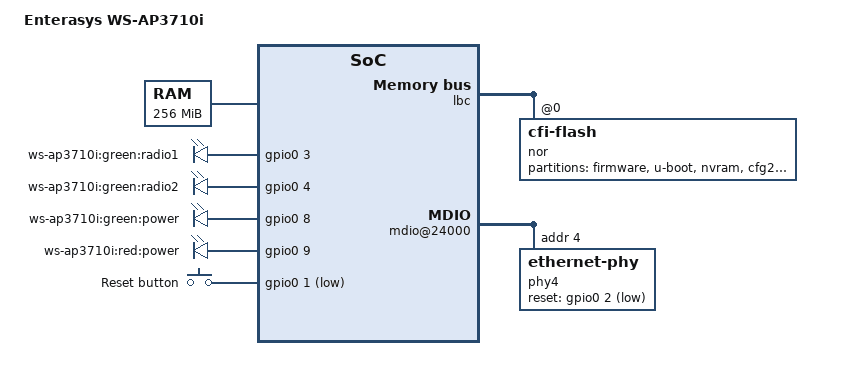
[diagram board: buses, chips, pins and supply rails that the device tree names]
// SPDX-License-Identifier: GPL-2.0-or-later or MIT

#include <dt-bindings/input/input.h>
#include <dt-bindings/gpio/gpio.h>

/include/ "fsl/p1020si-pre.dtsi"
/ {
	model = "Enterasys WS-AP3710i";
	compatible = "enterasys,ws-ap3710i";

	aliases {
		led-boot = &led_power_green;
		led-failsafe = &led_power_red;
		led-running = &led_power_green;
		led-upgrade = &led_power_red;
		label-mac-device = &enet0;
	};

	chosen {
		bootargs-override = "console=ttyS0,115200";
		stdout-path = &serial0;
	};

	memory {
		device_type = "memory";
	};

	leds {
		compatible = "gpio-leds";

		wifi1 {
			gpios = <&gpio0 3 GPIO_ACTIVE_HIGH>;
			label = "ws-ap3710i:green:radio1";
			linux,default-trigger = "phy0tpt";
		};

		wifi2 {
			gpios = <&gpio0 4 GPIO_ACTIVE_HIGH>;
			label = "ws-ap3710i:green:radio2";
			linux,default-trigger = "phy1tpt";
		};

		led_power_green: power_green {
			gpios = <&gpio0 8 GPIO_ACTIVE_HIGH>;
			label = "ws-ap3710i:green:power";
		};

		led_power_red: power_red {
			gpios = <&gpio0 9 GPIO_ACTIVE_HIGH>;
			label = "ws-ap3710i:red:power";
		};
	};

	keys {
		compatible = "gpio-keys";

		reset {
			label = "Reset button";
			gpios = <&gpio0 1 GPIO_ACTIVE_LOW>;
			linux,code = <KEY_RESTART>;
		};
	};

	lbc: localbus@ffe05000 {
		reg = <0 0xffe05000 0 0x1000>;
		ranges = <0x0 0x0 0x0 0xee000000 0x2000000>;

		nor@0 {
			compatible = "cfi-flash";
			reg = <0x0 0x0 0x2000000>;
			bank-width = <2>;
			device-width = <1>;

			partitions {
				compatible = "fixed-partitions";
				#address-cells = <1>;
				#size-cells = <1>;

				partition@0 {
					compatible = "denx,uimage";
					reg = <0x0 0x1d80000>;
					label = "firmware";
				};

				partition@1d80000 {
					reg = <0x1d80000 0x80000>;
					label = "u-boot";
					read-only;
				};

				partition@1e00000 {
					reg = <0x1e00000 0x100000>;
					label = "nvram";
					read-only;
				};

				partition@1f00000 {
					reg = <0x1f00000 0x20000>;
					label = "cfg2";
					read-only;
				};

				partition@1f20000 {
					reg = <0x1f20000 0x20000>;
					label = "cfg1";
					read-only;

					nvmem-layout {
						compatible = "u-boot,env-redundant-bool";
						env-size = <0x10000>;

						macaddr_cfg1_ethaddr: ethaddr {
						};
					};
				};
			};
		};
	};

	soc: soc@ffe00000 {
		ranges = <0x0 0x0 0xffe00000 0x100000>;

		gpio0: gpio-controller@fc00 {
		};

		mdio@24000 {
			phy4: ethernet-phy@4 {
				reg = <0x4>;
				reset-gpios = <&gpio0 2 GPIO_ACTIVE_LOW>;
			};
		};

		enet0: ethernet@b0000 {
			phy-connection-type = "rgmii-id";
			phy-handle = <&phy4>;

			nvmem-cells = <&macaddr_cfg1_ethaddr>;
			nvmem-cell-names = "mac-address";
		};

		enet1: ethernet@b1000 {
			status = "disabled";
		};

		enet2: ethernet@b2000 {
			status = "disabled";
		};

		usb@22000 {
			status = "disabled";
		};

		usb@23000 {
			status = "disabled";
		};
	};

	pci0: pcie@ffe09000 {
		ranges = <0x2000000 0x0 0xa0000000 0 0xa0000000 0x0 0x20000000>,
			  <0x1000000 0x0 0x00000000 0 0xffc10000 0x0 0x10000>;
		reg = <0 0xffe09000 0 0x1000>;

		/* Filled by U-Boot */
		bus-range = <0x00 0x01>;
		dma-ranges = <0x2000000 0x00 0xfff00000 0x00 0xffe00000 0x00 0x100000>,
			      <0x42000000 0x00 0x00 0x00 0x00 0x00 0x10000000>;

		pcie@0 {
			ranges = <0x2000000 0x0 0xa0000000
				  0x2000000 0x0 0xa0000000
				  0x0 0x20000000>,
				 <0x1000000 0x0 0x0
				  0x1000000 0x0 0x0
				  0x0 0x100000>;
		};
	};

	pci1: pcie@ffe0a000 {
		reg = <0 0xffe0a000 0 0x1000>;
		ranges = <0x2000000 0x0 0x80000000 0 0x80000000 0x0 0x20000000>,
			  <0x1000000 0x0 0x00000000 0 0xffc00000 0x0 0x10000>;

		/* Filled by U-Boot */
		bus-range = <0x00 0x01>;
		dma-ranges = <0x2000000 0x00 0xfff00000 0x00 0xffe00000 0x00 0x100000>,
			      <0x42000000 0x00 0x00 0x00 0x00 0x00 0x10000000>;

		pcie@0 {
			ranges = <0x2000000 0x0 0x80000000
				  0x2000000 0x0 0x80000000
				  0x0 0x20000000>,
				 <0x1000000 0x0 0x0
				  0x1000000 0x0 0x0
				  0x0 0x100000>;
		};
	};

};
/include/ "fsl/p1020si-post.dtsi"

/ {
	cpus {
		PowerPC,P1020@0 {
			bus-frequency = <399999996>;
			timebase-frequency = <50000000>;
			clock-frequency = <799999992>;
			d-cache-block-size = <0x20>;
			d-cache-size = <0x8000>;
			d-cache-sets = <0x80>;
			i-cache-block-size = <0x20>;
			i-cache-size = <0x8000>;
			i-cache-sets = <0x80>;
			cpu-release-addr = <0x0 0x0ffff280>;
			enable-method = "spin-table";
		};

		PowerPC,P1020@1 {
			bus-frequency = <399999996>;
			timebase-frequency = <50000000>;
			clock-frequency = <799999992>;
			d-cache-block-size = <0x20>;
			d-cache-size = <0x8000>;
			d-cache-sets = <0x80>;
			i-cache-block-size = <0x20>;
			i-cache-size = <0x8000>;
			i-cache-sets = <0x80>;
			cpu-release-addr = <0x0 0x0ffff2a0>;
			status = "disabled";
			enable-method = "spin-table";
		};
	};

	memory {
		reg = <0x0 0x0 0x0 0x10000000>;
	};

	reserved-memory {
		#address-cells = <2>;
		#size-cells = <2>;
		ranges;

		cpu1-bootpage@ff00000 {
			/* Reserve upper 1 MB for second-core-bootpage */
			reg = <0x0 0xff00000 0x0 0x100000>;
		};
	};

	soc@ffe00000 {
		bus-frequency = <399999996>;

		serial@4600 {
			clock-frequency = <399999996>;
		};

		serial@4500 {
			clock-frequency = <399999996>;
		};

		pic@40000 {
			clock-frequency = <399999996>;
		};
	};

	localbus@ffe05000 {
		bus-frequency = <24999999>;
	};
};

&enet0 {
	rx-stash-idx = <0x00>;
	rx-stash-len = <0x60>;
	bd-stash;
};

/*
 * For the OpenWrt 22.03 release, since Linux 5.10.138 now uses
 * aliases to determine PCI domain numbers, drop aliases so as not to
 * change the sysfs path of our wireless netdevs.
 */

/ {
	aliases {
		/delete-property/ pci0;
		/delete-property/ pci1;
	};
};
